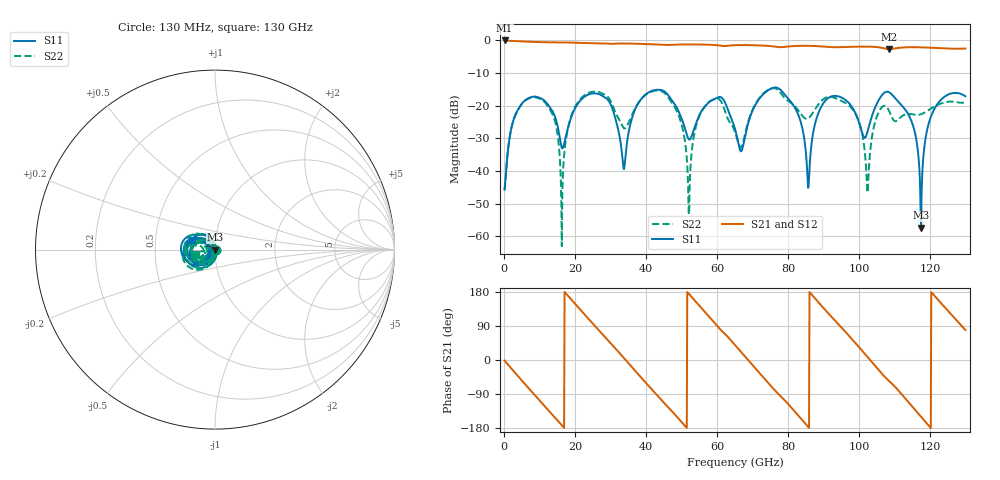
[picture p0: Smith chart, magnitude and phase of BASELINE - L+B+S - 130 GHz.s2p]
! TOUCHSTONE file generated by CST MICROWAVE STUDIO
! Date and time: Thu Nov 19 09:29:19 2026
! Project name: BASELINE - L+B+S.cst
! Parameters = {BEND_RADIUS=0.1025; BOX_H=0.0047; CAP_H=0.0014; CAP_W=0.002; CLAD_H=0.0036; DEV_L=2.86; DEV_W=1.2; EL_L=2.16; EL_L2=1.08; EL_L3=1.44; GAP=0.00445; GAP2=0.0048; ISTANBUL_V1=0; L1=0.02; L2=0.066; L_OFF=0.04; MTX=0.002; N_CELL=11; N_CELL2=5; N_CELL3=7; PITCH=0.18; SI_H=0.525; SLAB_H=0.0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
! Header version: 2024
! Port assignment regex: !\s*Touchstone port\s*([0-9]+)\s*=\s*(CST MWS port|CST DES external port|CST DES block port)\s*(.+)\s* \(\"(.*)\"\)(\s*mode\s*([0-9]+))?.*
! Touchstone port assignment:
! Touchstone port 1 = CST MWS port 1 ("")
! Touchstone port 2 = CST MWS port 2 ("")
# GHz S MA R 50
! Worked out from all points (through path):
!   1000 points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, 130 MHz to 130 GHz, reference 50 ohm
!   highest |S21| = -0.04 dB at 130 MHz (marker M1); lowest = -2.7 dB at 108.5 GHz (marker M2)
!   group delay of S21, straight-line fit = 29 ps
!   lowest |S11| = -57.4 dB at 117.5 GHz (marker M3), VSWR 1.00, Z = 50.1 - j0.108 ohm
!   |S11| at or under -10 dB: start of sweep to end of sweep
!   |S22| runs from -63.0 to -14.7 dB; largest |S21 - S12| = 0.0043
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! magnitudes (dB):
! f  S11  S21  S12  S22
! 130 MHz  -45.7  0.0  0.0  -45.8
! 2.86 GHz  -23.7  -0.2  -0.2  -23.7
! 8.32 GHz  -17.2  -0.5  -0.5  -17.4
! 13.91 GHz  -22.3  -0.6  -0.6  -23.4
! 16.38 GHz  -33.1  -0.7  -0.7  -47.5
! 21.84 GHz  -18.0  -0.8  -0.8  -17.6
! 29.51 GHz  -18.6  -1.0  -1.0  -17.7
! 33.8 GHz  -39.4  -1.0  -1.0  -26.9
! 43.42 GHz  -15.1  -1.3  -1.3  -15.4
! 49.4 GHz  -22.3  -1.3  -1.3  -23.6
! 52 GHz  -30.2  -1.2  -1.2  -52.5
! 57.33 GHz  -19.4  -1.3  -1.3  -19.3
! 65.13 GHz  -27.4  -1.5  -1.5  -28.3
! 76.7 GHz  -14.5  -2.0  -2.0  -14.8
! 86.71 GHz  -31.1  -1.7  -1.7  -22.7
! 97.63 GHz  -19.8  -2.0  -2.0  -20.4
! 102.4 GHz  -27.8  -1.9  -1.9  -46.6
! 108.4 GHz  -15.9  -2.7  -2.6  -21.5
! 108.5 GHz  -15.9  -2.7  -2.6  -21.7
! 117.5 GHz  -57.4  -2.1  -2.2  -22.6
! 121.2 GHz  -21.2  -2.3  -2.4  -20.3
! 130 GHz  -17.1  -2.5  -2.5  -19.1
